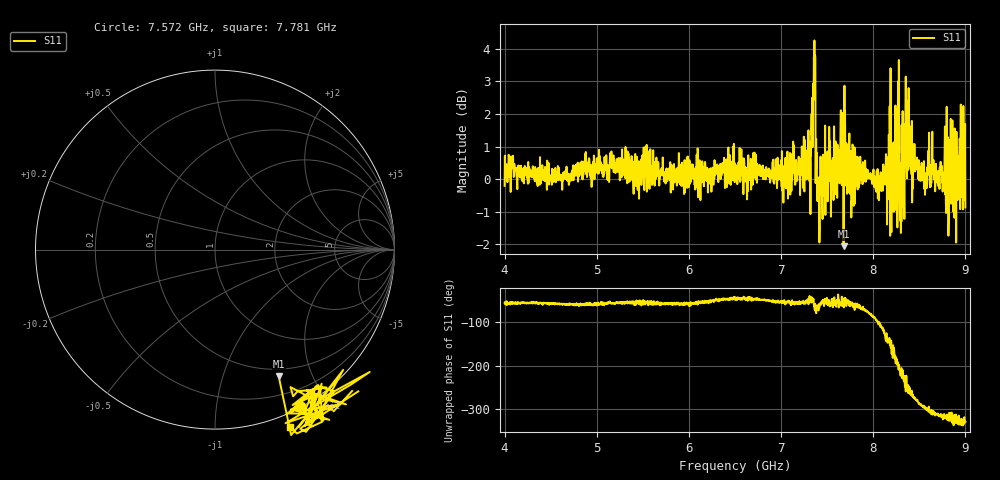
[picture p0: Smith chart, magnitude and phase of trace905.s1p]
! Created with skrf 1.8.0 (http://scikit-rf.org).
# Hz S RI R 50.0
!freq ReS11 ImS11
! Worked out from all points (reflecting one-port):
!   1601 points, 4 GHz to 9 GHz, reference 50 ohm
!   lowest |S11| = -2.1 dB at 7.678 GHz (marker M1), VSWR 8.51, Z = 20.6 - j77.2 ohm
!   phase of S11 starts at -57 deg and turns -271 deg over the sweep
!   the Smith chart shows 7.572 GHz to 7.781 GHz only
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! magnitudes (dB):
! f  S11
! 4 GHz  -0.2
! 4.625 GHz  -0.3
! 5.25 GHz  0.0
! 5.875 GHz  0.3
! 6.5 GHz  0.3
! 7.125 GHz  0.4
! 7.297 GHz  1.5
! 7.328 GHz  1.6
! 7.347 GHz  2.9
! 7.372 GHz  3.7
! 7.4 GHz  0.0
! 7.425 GHz  0.3
! 7.509 GHz  -0.6
! 7.609 GHz  -0.6
! 7.678 GHz  -2.1
! 7.75 GHz  -0.3
! 8.075 GHz  -0.1
! 8.162 GHz  0.1
! 8.209 GHz  0.4
! 8.259 GHz  2.1
! 8.312 GHz  1.7
! 8.334 GHz  -0.2
! 8.375 GHz  1.5
! 8.419 GHz  1.8
! 8.556 GHz  -0.3
! 8.906 GHz  0.5
! 8.959 GHz  1.9
! 9 GHz  -0.9
